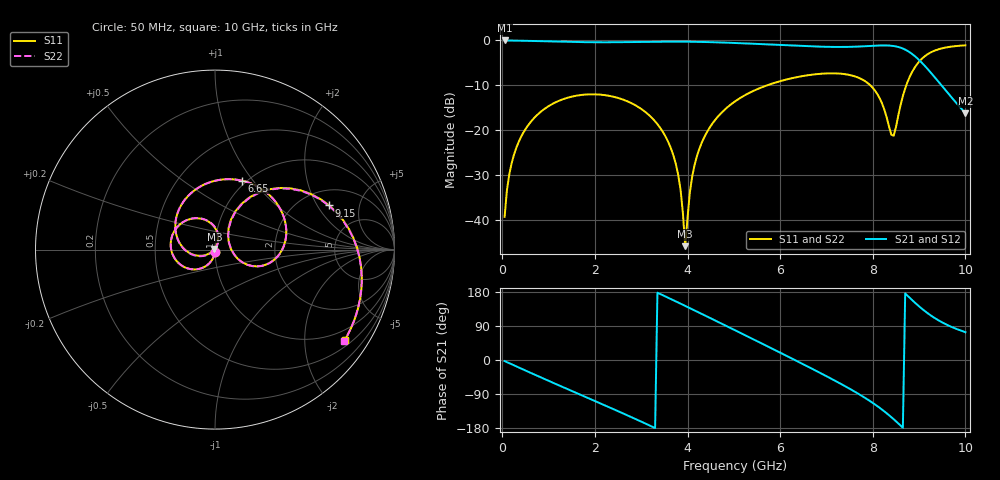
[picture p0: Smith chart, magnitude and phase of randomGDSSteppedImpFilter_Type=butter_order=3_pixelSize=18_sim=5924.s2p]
! freq	dB(S11)	phase(S11)	dB(S12)	phase(S12)
!  dB(S21)	phase(S21)	dB(S22)	phase(S22)
!S-par simulation data
#  GHz  S  DB  R 50
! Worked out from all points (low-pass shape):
!   200 points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, 50 MHz to 10 GHz, reference 50 ohm
!   highest |S21| = -0.01 dB at 50 MHz (marker M1); lowest = -16.2 dB at 10 GHz (marker M2)
!   |S21| within 3 dB of the highest: start of sweep to 8.847 GHz
!   lowest |S11| = -45.9 dB at 3.95 GHz (marker M3), VSWR 1.01, Z = 49.6 + j0.353 ohm
!   |S11| at or under -10 dB: start of sweep to 5.721 GHz; 7.945 GHz to 8.725 GHz (779.5 MHz wide, 9.35 % of centre)
!   |S22| runs from -51.0 to -1.1 dB; largest |S21 - S12| = 0
!   S11 on the Smith chart (normalised r, x): 50 MHz: 1.00, -0.02; 6.65 GHz: 0.96, +0.88; 9.15 GHz: 2.78, +2.56; 10 GHz: 0.67, -3.05
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0.05  -39.34 -91.8  -0.01 -2.8  -0.01 -2.8  -39.34 -91.9
0.2  -27.46 -101.2  -0.03 -11.2  -0.03 -11.2  -27.46 -101.2
0.5  -19.80 -118.2  -0.08 -27.7  -0.08 -27.7  -19.80 -118.2
1.75  -12.11 174.5  -0.39 -95.0  -0.39 -95.0  -12.11 174.2
2.7  -13.57 123.9  -0.37 -146.0  -0.37 -146.0  -13.57 123.3
3.4  -19.36 85.9  -0.28 174.8  -0.28 174.8  -19.36 84.5
3.8  -30.05 68.6  -0.27 151.6  -0.27 151.6  -30.10 63.6
3.9  -38.54 77.3  -0.28 145.7  -0.28 145.7  -39.04 63.6
3.95  -45.89 135.5  -0.28 142.8  -0.28 142.8  -51.02 137.3
4.05  -33.90 -147.1  -0.29 136.9  -0.29 136.9  -34.13 -139.2
4.2  -25.92 -148.1  -0.31 128.0  -0.31 128.0  -25.96 -145.0
5.05  -13.42 165.0  -0.58 77.1  -0.58 77.1  -13.43 165.6
5.9  -9.39 114.2  -0.98 25.6  -0.98 25.6  -9.39 114.2
6.65  -7.69 68.5  -1.32 -20.6  -1.32 -20.6  -7.69 68.4
6.7  -7.62 65.4  -1.34 -23.8  -1.34 -23.8  -7.62 65.3
7.65  -8.15 5.8  -1.39 -86.4  -1.39 -86.4  -8.15 5.5
8.1  -11.99 -21.8  -1.15 -121.8  -1.15 -121.8  -11.98 -21.9
8.35  -19.17 -14.5  -1.14 -145.5  -1.14 -145.5  -19.12 -14.6
8.45  -21.27 26.9  -1.24 -156.1  -1.24 -156.1  -21.18 26.4
8.7  -10.71 60.0  -2.05 175.5  -2.05 175.5  -10.70 59.5
9.15  -3.32 21.1  -5.97 126.7  -5.97 126.7  -3.31 20.7
10  -1.10 -34.9  -16.21 73.3  -16.21 73.3  -1.09 -35.2
